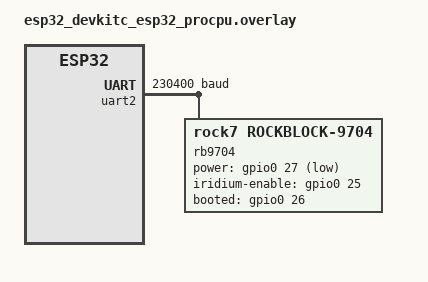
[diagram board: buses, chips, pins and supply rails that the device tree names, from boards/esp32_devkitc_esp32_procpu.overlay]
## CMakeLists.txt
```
# SPDX-License-Identifier: MIT
# Copyright (c) 2026 Scott Penrose <scottp@dd.com.au>
cmake_minimum_required(VERSION 3.20.0)
find_package(Zephyr REQUIRED HINTS $ENV{ZEPHYR_BASE})
project(rb9704_shell)
target_sources(app PRIVATE src/main.c src/rbtest.c)
target_sources_ifdef(CONFIG_WIFI app PRIVATE src/wifi.c)
# The RGB LED and button, on boards whose overlay gives a led-strip alias
# and an sw0 button (boards/stamp_c3.*).
target_sources_ifdef(CONFIG_LED_STRIP app PRIVATE src/indicator.c)
```

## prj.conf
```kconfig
CONFIG_SERIAL=y
CONFIG_SHELL=y
CONFIG_LOG=y
# One log backend, the shell's: with the UART one as well every line
# printed twice.
CONFIG_LOG_BACKEND_UART=n
CONFIG_RB9704=y
CONFIG_RB9704_SHELL=y
# Long `rb9704 send` lines, typed or pasted.
CONFIG_SHELL_CMD_BUFF_SIZE=512
CONFIG_SHELL_BACKEND_SERIAL_RX_RING_BUFFER_SIZE=256
CONFIG_CRC=y
```

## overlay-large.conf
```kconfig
# SPDX-License-Identifier: MIT
# Copyright (c) 2026 Scott Penrose <scottp@dd.com.au>
#
# Messages up to 50000 bytes, for `rbtest large`:
#
#   west build -b stamp_c3 samples/shell -- -DEXTRA_CONF_FILE=overlay-large.conf
#
# Three buffers of this size are kept: the library's MO and MT buffers and
# this module's copy for rb9704_send, about 150 kB in all. On the
# M5Stamp-C3 that fits on the USB console, and with overlay-wifi.conf as
# well it does not: the link overflows by 11 kB. With WiFi, 40000 bytes
# fits (docs/boards/stamp_c3.md).
CONFIG_RB9704_MESSAGE_MAX=50000
```

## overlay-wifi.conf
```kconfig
# SPDX-License-Identifier: MIT
# Copyright (c) 2026 Scott Penrose <scottp@dd.com.au>
#
# The shell over WiFi, for a board out in the open with power and no USB:
#
#   west build -b stamp_c3 samples/shell -- -DEXTRA_CONF_FILE=overlay-wifi.conf
#
# Once, on the USB console:
#
#   wifi cred add -s "<SSID>" -k 1 -p "<password>"
#
# The board joins that network at every boot after (src/wifi.c), logs its
# address, and `telnet <address>` gives the same shell as the console. There
# is no password on telnet and `rb9704 send` costs airtime: keep it on a
# network you trust.

# --- WiFi -------------------------------------------------------------------
CONFIG_WIFI=y
CONFIG_NET_L2_WIFI_MGMT=y
CONFIG_NET_L2_WIFI_SHELL=y
# The ESP32 driver reconnects by itself after the access point drops it.
CONFIG_ESP32_WIFI_STA_RECONNECT=y

CONFIG_NETWORKING=y
CONFIG_NET_IPV4=y
CONFIG_NET_IPV6=n
CONFIG_NET_DHCPV4=y
CONFIG_NET_TCP=y
CONFIG_NET_SOCKETS=y
CONFIG_NET_SHELL=y
CONFIG_NET_MGMT=y
CONFIG_NET_MGMT_EVENT=y
CONFIG_NET_MGMT_EVENT_INFO=y

# --- credentials, kept in flash --------------------------------------------
CONFIG_WIFI_CREDENTIALS=y
CONFIG_WIFI_CREDENTIALS_CONNECT_STORED=y
CONFIG_SETTINGS=y
CONFIG_SETTINGS_NVS=y
CONFIG_NVS=y
CONFIG_FLASH=y
CONFIG_FLASH_MAP=y

# --- the shell on telnet ----------------------------------------------------
CONFIG_SHELL_BACKEND_TELNET=y
# Character mode and echo negotiated with the client, so line editing and
# history work as on the console. Zephyr's own telnet sample sets it.
CONFIG_SHELL_TELNET_SUPPORT_COMMAND=y
CONFIG_SHELL_STACK_SIZE=4096

# --- memory -----------------------------------------------------------------
CONFIG_MAIN_STACK_SIZE=4096
CONFIG_NET_TX_STACK_SIZE=2048
CONFIG_NET_RX_STACK_SIZE=2048
```

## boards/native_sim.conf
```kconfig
# One log backend on native_sim, the shell's, as on a board.
CONFIG_LOG_BACKEND_NATIVE_POSIX=n
```

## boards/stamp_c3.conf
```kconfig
# The RGB LED and the button (src/indicator.c).
CONFIG_SPI=y
CONFIG_LED_STRIP=y
CONFIG_INPUT=y
```

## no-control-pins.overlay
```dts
/* SPDX-License-Identifier: MIT
 * Copyright (c) 2026 Scott Penrose <scottp@dd.com.au>
 *
 * The modem on TX and RX alone: P_EN, I_EN and I_BTD taken out of the
 * board overlay's node, for a modem wired with four wires. The module
 * then takes it to be powered, as the RockBLOCK is with the pins open.
 *
 *   west build -b stamp_c3 samples/shell -- \
 *     -DEXTRA_DTC_OVERLAY_FILE=no-control-pins.overlay
 */
&rb9704 {
	/delete-property/ power-gpios;
	/delete-property/ iridium-enable-gpios;
	/delete-property/ booted-gpios;
};
```

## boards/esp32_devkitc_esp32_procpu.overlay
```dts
/* ESP32 DevKitC (the original ESP32): the modem on uart2, GPIO17 (TX) and
 * GPIO16 (RX), with its control lines on GPIO27 (P_EN), GPIO25 (I_EN) and
 * GPIO26 (I_BTD). The console stays on uart0 through the board's USB bridge.
 * On WROVER modules GPIO16 and GPIO17 belong to the PSRAM: use a WROOM
 * module, or move uart2's pins here. */
&uart2 {
	current-speed = <230400>;
	status = "okay";

	rb9704: rockblock {
		compatible = "rock7,rockblock-9704";
		power-gpios = <&gpio0 27 GPIO_ACTIVE_LOW>;		/* P_EN, active low */
		iridium-enable-gpios = <&gpio0 25 GPIO_ACTIVE_HIGH>;	/* I_EN */
		booted-gpios = <&gpio0 26 GPIO_ACTIVE_HIGH>;		/* I_BTD */
	};
};
```

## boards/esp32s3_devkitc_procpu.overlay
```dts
/* ESP32-S3-DevKitC: the modem on uart1, GPIO17 (TX) and GPIO18 (RX), with
 * its control lines on GPIO6 (P_EN), GPIO4 (I_EN) and GPIO5 (I_BTD). */
&pinctrl {
	uart1_rb9704: uart1_rb9704 {
		group1 {
			pinmux = <UART1_TX_GPIO17>;
			output-high;
		};
		group2 {
			pinmux = <UART1_RX_GPIO18>;
			bias-pull-up;
		};
	};
};

&uart1 {
	pinctrl-0 = <&uart1_rb9704>;
	pinctrl-names = "default";
	current-speed = <230400>;
	status = "okay";

	rb9704: rockblock {
		compatible = "rock7,rockblock-9704";
		power-gpios = <&gpio0 6 GPIO_ACTIVE_LOW>;		/* P_EN, active low */
		iridium-enable-gpios = <&gpio0 4 GPIO_ACTIVE_HIGH>;	/* I_EN */
		booted-gpios = <&gpio0 5 GPIO_ACTIVE_HIGH>;		/* I_BTD */
	};
};
```

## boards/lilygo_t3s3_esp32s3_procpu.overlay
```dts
/* LilyGO T3-S3: the modem on uart0, GPIO43 (TX) and GPIO44 (RX) on the
 * header. The console is on the S3's native USB, so uart0 is free.
 *
 * The ESP32-S3's ROM prints on GPIO43 at every reset, before Zephyr runs, so
 * the modem sees some junk; rbBegin() drains it and resynchronises. If it
 * ever matters, hold I_EN low until the board is up (iridium-enable-gpios). */
&uart0 {
	current-speed = <230400>;
	status = "okay";

	rb9704: rockblock {
		compatible = "rock7,rockblock-9704";
	};
};
```

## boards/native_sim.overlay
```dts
/* native_sim: the modem is a host serial device, the fake modem's pty
 * (python/rb9704tools/fakemodem.py) or a real RockBLOCK on USB. Name it at
 * run time: ./zephyr.exe --modem_uart_port=/dev/pts/N (the node name below). */
/ {
	modem_uart: modem_uart {
		compatible = "zephyr,native-tty-uart";
		current-speed = <230400>;
		status = "okay";

		rockblock {
			compatible = "rock7,rockblock-9704";
		};
	};
};
```

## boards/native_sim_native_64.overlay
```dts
/* native_sim: the modem is a host serial device, the fake modem's pty
 * (python/rb9704tools/fakemodem.py) or a real RockBLOCK on USB. Name it at
 * run time: ./zephyr.exe --modem_uart_port=/dev/pts/N (the node name below). */
/ {
	modem_uart: modem_uart {
		compatible = "zephyr,native-tty-uart";
		current-speed = <230400>;
		status = "okay";

		rb9704: rockblock {
			compatible = "rock7,rockblock-9704";
		};
	};
};
```

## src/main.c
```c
/* SPDX-License-Identifier: MIT
 * Copyright (c) 2026 Scott Penrose <scottp@dd.com.au>
 *
 * The rb9704 shell sample: `rb9704` on the console, and every message from
 * the network, every finished send and every signal change printed as it
 * happens. The same image is what the tests in tests/ drive, on native_sim
 * against a fake modem and on a board against a fake or a real one.
 */
#include <zephyr/kernel.h>
#include <zephyr/logging/log.h>

#include <ctype.h>

#include <zephyr/sys/crc.h>

#include <rb9704/rb9704.h>

#include "rbtest.h"

#ifdef CONFIG_WIFI
#include "wifi.h"
#endif
#ifdef CONFIG_LED_STRIP
#include "indicator.h"
#endif

LOG_MODULE_REGISTER(sample, LOG_LEVEL_INF);

static void on_mo_done(uint16_t topic, uint16_t id, int result, void *user)
{
	ARG_UNUSED(user);
	LOG_INF("mo done topic %u id %u result %d", topic, id, result);
	rbtest_mo_done(topic, id, result);
#ifdef CONFIG_LED_STRIP
	indicator_flash_mo(result);
#endif
}

static void on_mt(const struct rb9704_mt *mt, void *user)
{
	/* The whole message's CRC and its start: a long one in a single log
	 * line would not survive every board's log buffer. */
	char text[65];
	size_t n = MIN(mt->len, sizeof(text) - 1);

	ARG_UNUSED(user);
	for (size_t i = 0; i < n; i++) {
		text[i] = isprint(mt->data[i]) ? mt->data[i] : '.';
	}
	text[n] = '\0';
	LOG_INF("mt topic %u id %u len %u crc %08x: %s", mt->topic, mt->id, (unsigned int)mt->len,
		crc32_ieee(mt->data, mt->len), text);
	rbtest_mt(mt);
#ifdef CONFIG_LED_STRIP
	indicator_flash_mt();
#endif
}

static void on_signal(uint8_t bars, bool visible, void *user)
{
	ARG_UNUSED(user);
	LOG_INF("signal %u bars%s", bars, visible ? "" : ", not visible");
}

static void on_provisioning(const struct rb9704_topic *topics, uint8_t n, void *user)
{
	ARG_UNUSED(user);
	LOG_INF("provisioned, %u topic(s), the first %u", n, n > 0 ? topics[0].id : 0);
}

static const struct rb9704_callbacks cb = {
	.mo_done = on_mo_done,
	.mt = on_mt,
	.signal = on_signal,
	.provisioning = on_provisioning,
};

int main(void)
{
	rb9704_set_callbacks(&cb);
#ifdef CONFIG_WIFI
	sample_wifi_start();
#endif
#ifdef CONFIG_LED_STRIP
	indicator_start();
#endif
	LOG_INF("rb9704 shell sample: `rb9704 begin`, then `rb9704 info`");
	return 0;
}
```

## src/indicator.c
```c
/* SPDX-License-Identifier: MIT
 * Copyright (c) 2026 Scott Penrose <scottp@dd.com.au>
 *
 * indicator.c - the board's RGB LED and button, for a board out in the open
 * with nobody at its console. Built on boards whose devicetree has a
 * led-strip alias (one LED is enough) and an sw0 button.
 *
 * The LED, by priority:
 *
 *   white, fast blink   a button action is running (begin, end)
 *   green flash         a message went (1 s)
 *   red flash           a message, or a button action, failed (2 s)
 *   cyan flash          a message arrived (2 s)
 *   magenta             a message is with the modem, on its way
 *   red/yellow/green    begun: no signal or no satellite / 1-2 bars / 3-5
 *   blue                not begun
 *
 * On a WiFi build the steady colours blink slowly while there is no WiFi:
 * blinking means telnet will not reach it.
 *
 * The button, both free of airtime:
 *
 *   short press   not begun: rb9704_begin. Begun: ask for the signal.
 *   long press    rb9704_end, and the supply off when there is a power pin.
 */
#include <zephyr/kernel.h>
#include <zephyr/device.h>
#include <zephyr/devicetree.h>
#include <zephyr/drivers/led_strip.h>
#include <zephyr/input/input.h>
#include <zephyr/logging/log.h>

#include <rb9704/rb9704.h>

#include "indicator.h"
#ifdef CONFIG_WIFI
#include "wifi.h"
#endif

LOG_MODULE_REGISTER(sample_indicator, LOG_LEVEL_INF);

#define TICK_MS	   100
#define LONG_MS	   2000
/* Out of 255: the SK6812 at full is too bright to look at. */
#define LEVEL	   24

static const struct device *const strip = DEVICE_DT_GET(DT_ALIAS(led_strip));

enum flash { FLASH_NONE, FLASH_SENT, FLASH_FAILED, FLASH_MT };

static atomic_t flash;
static int64_t flash_until;
static atomic_t busy;
static uint32_t ticks;

static K_SEM_DEFINE(press_sem, 0, 1);
static bool press_long;

static struct led_rgb rgb(uint8_t r, uint8_t g, uint8_t b)
{
	return (struct led_rgb){.r = r, .g = g, .b = b};
}

static const struct led_rgb off = {0};

static bool wifi_up(void)
{
#ifdef CONFIG_WIFI
	return sample_wifi_connected();
#else
	return true;
#endif
}

void indicator_flash_mo(int result)
{
	atomic_set(&flash, result == 0 ? FLASH_SENT : FLASH_FAILED);
	flash_until = k_uptime_get() + (result == 0 ? 1000 : 2000);
}

void indicator_flash_mt(void)
{
	atomic_set(&flash, FLASH_MT);
	flash_until = k_uptime_get() + 2000;
}

static struct led_rgb pick(void)
{
	struct rb9704_status st;
	struct led_rgb c;

	ticks++;
	if (atomic_get(&busy)) {
		return (ticks & 1) ? rgb(LEVEL, LEVEL, LEVEL) : off;
	}
	if (atomic_get(&flash) != FLASH_NONE) {
		if (k_uptime_get() < flash_until) {
			switch (atomic_get(&flash)) {
			case FLASH_SENT:
				return rgb(0, LEVEL, 0);
			case FLASH_FAILED:
				return rgb(LEVEL, 0, 0);
			default:
				return rgb(0, LEVEL, LEVEL);
			}
		}
		atomic_set(&flash, FLASH_NONE);
	}

	rb9704_status(&st);
	if (st.mo_in_flight) {
		c = rgb(LEVEL, 0, LEVEL);
	} else if (!st.begun) {
		c = rgb(0, 0, LEVEL);
	} else if (!st.signal_known || st.signal_bars == 0 ||
		   (st.visibility_known && !st.constellation_visible)) {
		c = rgb(LEVEL, 0, 0);
	} else if (st.signal_bars < 3) {
		c = rgb(LEVEL, LEVEL, 0);
	} else {
		c = rgb(0, LEVEL, 0);
	}
	/* Half a second on, half off, while telnet cannot reach the board. */
	if (!wifi_up() && (ticks / 5) % 2) {
		return off;
	}
	return c;
}

static void tick(struct k_work *work)
{
	struct led_rgb c = pick();

	(void)led_strip_update_rgb(strip, &c, 1);
	k_work_schedule(k_work_delayable_from_work(work), K_MSEC(TICK_MS));
}

static K_WORK_DELAYABLE_DEFINE(tick_work, tick);

/* The input thread must not wait on the modem: a press is handed to the
 * button thread, and a press during an action is dropped. */
static void on_key(struct input_event *evt, void *user)
{
	static int64_t down;

	ARG_UNUSED(user);
	if (evt->type != INPUT_EV_KEY) {
		return;
	}
	if (evt->value) {
		down = k_uptime_get();
		return;
	}
	if (atomic_get(&busy)) {
		return;
	}
	press_long = k_uptime_get() - down >= LONG_MS;
	k_sem_give(&press_sem);
}

INPUT_CALLBACK_DEFINE(DEVICE_DT_GET(DT_PARENT(DT_ALIAS(sw0))), on_key, NULL);

static void button_thread(void *a, void *b, void *c)
{
	struct rb9704_status st;
	int rc;

	ARG_UNUSED(a);
	ARG_UNUSED(b);
	ARG_UNUSED(c);
	for (;;) {
		k_sem_take(&press_sem, K_FOREVER);
		rb9704_status(&st);
		atomic_set(&busy, 1);
		if (press_long) {
			LOG_INF("button: end");
			/* rb9704_power ends the library first. */
			rc = rb9704_power(false);
			if (rc == -ENOTSUP) {
				rc = st.begun ? rb9704_end(K_SECONDS(10)) : 0;
			}
		} else if (!st.begun) {
			LOG_INF("button: begin");
			rc = rb9704_begin(K_SECONDS(60));
		} else {
			LOG_INF("button: signal");
			rc = rb9704_signal(K_SECONDS(10));
		}
		atomic_set(&busy, 0);
		if (rc < 0) {
			LOG_WRN("button: failed (%d)", rc);
			indicator_flash_mo(rc);
		}
	}
}

K_THREAD_DEFINE(button_tid, 2048, button_thread, NULL, NULL, NULL, 10, 0, 0);

void indicator_start(void)
{
	if (!device_is_ready(strip)) {
		LOG_ERR("LED not ready");
		return;
	}
	k_work_schedule(&tick_work, K_NO_WAIT);
}
```

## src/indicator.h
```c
/* SPDX-License-Identifier: MIT
 * Copyright (c) 2026 Scott Penrose <scottp@dd.com.au>
 */
#ifndef SAMPLE_INDICATOR_H
#define SAMPLE_INDICATOR_H

/* The RGB LED shows the modem's state; the button begins and ends it. */
void indicator_start(void);
/* A short flash for a finished send (result as mo_done gives it) and for
 * a message arrived. */
void indicator_flash_mo(int result);
void indicator_flash_mt(void);

#endif /* SAMPLE_INDICATOR_H */
```

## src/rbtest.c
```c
/* SPDX-License-Identifier: MIT
 * Copyright (c) 2026 Scott Penrose <scottp@dd.com.au>
 *
 * rbtest.c - `rbtest` on the shell: airtime tests with a payload that is
 * easy to check at the other end, and a record of the last MT.
 *
 *   rbtest small <topic> [count] [gap_s]   count messages of 32 bytes, one
 *                                          at a time, gap_s apart
 *   rbtest large <topic> [bytes] [confirm] one message, 50000 bytes unless
 *                                          given; without confirm it only
 *                                          says what it would cost
 *   rbtest status                          the run, and how long each took
 *   rbtest stop                            no more messages after this one
 *   rbtest mt                              the last message from the network
 *
 * A run is on a thread of its own, so the shell stays free; each message
 * is logged as it is accepted and as it finishes.
 *
 * Every test message, MO or MT, has the same shape. A 16-byte header:
 *
 *   0..2   "RBT"
 *   3      version, 1
 *   4      kind: 'S' small, 'L' large, anything else from the cloud side
 *   5      seq, from 1
 *   6      count in the run
 *   7      0
 *   8..11  the whole message's length, big-endian
 *   12..15 uptime in ms when it was made, big-endian
 *
 * then from byte 16 to the end, byte k is k % 510 counted up 0..255 and
 * back down 254..1: a ramp that shows a missing or repeated segment at a
 * glance in a hex dump. `rb9704 pattern check` in python/ checks one, and
 * `rb9704 pattern make` makes one to queue as an MT.
 */
#include <zephyr/kernel.h>
#include <zephyr/logging/log.h>
#include <zephyr/shell/shell.h>
#include <zephyr/sys/byteorder.h>
#include <zephyr/sys/crc.h>

#include <ctype.h>
#include <errno.h>
#include <stdlib.h>
#include <string.h>

#include <rb9704/rb9704.h>

#include "rbtest.h"

LOG_MODULE_REGISTER(rbtest, LOG_LEVEL_INF);

#define HEADER 16
#define SMALL_LEN 32
#define LARGE_LEN 50000
#define MAX_COUNT 20
/* How long one message may take before it is cancelled. The modem retries
 * by itself while it waits for a satellite, so these are generous. */
#define SMALL_TIMEOUT K_SECONDS(600)
#define LARGE_TIMEOUT K_SECONDS(1800)

struct fill_ctx {
	char kind;
	uint8_t seq, count;
	uint32_t uptime_ms;
};

static uint8_t ramp(size_t k)
{
	size_t v = k % 510;

	return v < 256 ? v : 510 - v;
}

static void fill(uint8_t *buf, size_t len, void *user)
{
	const struct fill_ctx *c = user;
	uint8_t h[HEADER] = { 'R', 'B', 'T', 1, c->kind, c->seq, c->count, 0 };

	sys_put_be32(len, &h[8]);
	sys_put_be32(c->uptime_ms, &h[12]);
	for (size_t k = 0; k < len; k++) {
		buf[k] = k < HEADER ? h[k] : ramp(k);
	}
}

/* -1: not a test message. Otherwise the offset of the first byte that is
 * not as expected, and len when every byte is. */
static long check(const uint8_t *d, size_t len)
{
	if (len < HEADER || memcmp(d, "RBT\x01", 4) != 0) {
		return -1;
	}
	if (sys_get_be32(&d[8]) != len) {
		return 8;
	}
	for (size_t k = HEADER; k < len; k++) {
		if (d[k] != ramp(k)) {
			return k;
		}
	}
	return len;
}

/* --- the run --------------------------------------------------------------- */

static struct {
	bool running;
	bool stop;
	char kind;
	uint16_t topic;
	uint8_t count;
	uint32_t gap_s;
	size_t len;
	uint8_t done;
	int32_t result[MAX_COUNT];	/* ms to send, or a negative errno */
	int mo_result;
} run;
static K_MUTEX_DEFINE(run_lock);
static K_SEM_DEFINE(run_go, 0, 1);
static K_SEM_DEFINE(run_mo, 0, 1);
static K_SEM_DEFINE(run_stop, 0, 1);
static volatile bool mo_waiting;

void rbtest_mo_done(uint16_t topic, uint16_t id, int result)
{
	ARG_UNUSED(topic); ARG_UNUSED(id);
	if (mo_waiting) {
		run.mo_result = result;
		k_sem_give(&run_mo);
	}
}

static int32_t one(uint8_t seq)
{
	struct fill_ctx c = { run.kind, seq, run.count, 0 };
	k_timeout_t timeout = run.kind == 'L' ? LARGE_TIMEOUT : SMALL_TIMEOUT;
	int64_t t0 = k_uptime_get();
	int rc;

	c.uptime_ms = (uint32_t)t0;
	k_sem_reset(&run_mo);
	mo_waiting = true;
	rc = rb9704_send_fill(run.topic, run.len, fill, &c, K_SECONDS(30));
	if (rc != 0 && rc != -EINPROGRESS) {
		mo_waiting = false;
		LOG_WRN("rbtest %c %u/%u: not accepted: %d", run.kind, seq, run.count, rc);
		return rc;
	}
	LOG_INF("rbtest %c %u/%u: %u bytes on topic %u, accepted in %lld ms", run.kind, seq,
		run.count, (unsigned int)run.len, run.topic, k_uptime_get() - t0);
	if (k_sem_take(&run_mo, timeout) != 0) {
		LOG_WRN("rbtest %c %u/%u: no result in %lld s, cancelling", run.kind, seq,
			run.count, (k_uptime_get() - t0) / 1000);
		(void)rb9704_cancel(K_SECONDS(5));
		(void)k_sem_take(&run_mo, K_SECONDS(60));
		mo_waiting = false;
		return -ETIMEDOUT;
	}
	mo_waiting = false;
	if (run.mo_result != 0) {
		LOG_WRN("rbtest %c %u/%u: failed after %lld ms: %d", run.kind, seq, run.count,
			k_uptime_get() - t0, run.mo_result);
		return run.mo_result;
	}
	return (int32_t)(k_uptime_get() - t0);
}

static void runner(void *a, void *b, void *c)
{
	ARG_UNUSED(a); ARG_UNUSED(b); ARG_UNUSED(c);

	for (;;) {
		uint8_t ok = 0;

		k_sem_take(&run_go, K_FOREVER);
		for (uint8_t i = 0; i < run.count && !run.stop; i++) {
			int32_t r = one(i + 1);

			k_mutex_lock(&run_lock, K_FOREVER);
			run.result[i] = r;
			run.done = i + 1;
			k_mutex_unlock(&run_lock);
			if (r >= 0) {
				ok++;
				LOG_INF("rbtest %c %u/%u: sent in %d.%03d s", run.kind, i + 1,
					run.count, r / 1000, r % 1000);
			}
			if (i + 1 < run.count && !run.stop &&
			    k_sem_take(&run_stop, K_SECONDS(run.gap_s)) == 0) {
				break;
			}
		}
		LOG_INF("rbtest %c: %u of %u sent%s", run.kind, ok, run.count,
			run.done < run.count ? ", stopped" : "");
		k_mutex_lock(&run_lock, K_FOREVER);
		run.running = false;
		k_mutex_unlock(&run_lock);
	}
}

K_THREAD_DEFINE(rbtest_tid, 2048, runner, NULL, NULL, NULL, 10, 0, 0);

static int start(const struct shell *sh, char kind, uint16_t topic, uint8_t count,
		 uint32_t gap_s, size_t len)
{
	k_mutex_lock(&run_lock, K_FOREVER);
	if (run.running) {
		k_mutex_unlock(&run_lock);
		shell_error(sh, "a run is going: `rbtest status`, `rbtest stop`");
		return -EBUSY;
	}
	run.running = true;
	run.stop = false;
	run.kind = kind;
	run.topic = topic;
	run.count = count;
	run.gap_s = gap_s;
	run.len = len;
	run.done = 0;
	k_mutex_unlock(&run_lock);
	k_sem_reset(&run_stop);
	k_sem_give(&run_go);
	return 0;
}

static int parse_topic(const struct shell *sh, const char *s, uint16_t *topic)
{
	unsigned long t = strtoul(s, NULL, 10);

	if (t < RB9704_TOPIC_MIN || t > UINT16_MAX) {
		shell_error(sh, "topic %s: from %u, 244 is raw", s, RB9704_TOPIC_MIN);
		return -EINVAL;
	}
	*topic = (uint16_t)t;
	return 0;
}

static int cmd_small(const struct shell *sh, size_t argc, char **argv)
{
	uint16_t topic;
	unsigned long count = argc > 2 ? strtoul(argv[2], NULL, 10) : 3;
	unsigned long gap = argc > 3 ? strtoul(argv[3], NULL, 10) : 60;

	if (parse_topic(sh, argv[1], &topic) != 0) {
		return -EINVAL;
	}
	if (count < 1 || count > MAX_COUNT) {
		shell_error(sh, "count 1 to %d", MAX_COUNT);
		return -EINVAL;
	}
	shell_print(sh, "%lu messages of %d bytes on topic %u, %lu s apart: this costs airtime",
		    count, SMALL_LEN, topic, gap);
	return start(sh, 'S', topic, count, gap, SMALL_LEN);
}

static int cmd_large(const struct shell *sh, size_t argc, char **argv)
{
	uint16_t topic;
	unsigned long len = LARGE_LEN;
	bool confirmed = false;

	if (parse_topic(sh, argv[1], &topic) != 0) {
		return -EINVAL;
	}
	for (size_t i = 2; i < argc; i++) {
		if (strcmp(argv[i], "confirm") == 0) {
			confirmed = true;
		} else {
			len = strtoul(argv[i], NULL, 10);
		}
	}
	if (len <= HEADER || len > CONFIG_RB9704_MESSAGE_MAX) {
		shell_error(sh, "%lu bytes: from %d to %d, CONFIG_RB9704_MESSAGE_MAX in this build",
			    len, HEADER + 1, CONFIG_RB9704_MESSAGE_MAX);
		return -EINVAL;
	}
	if (!confirmed) {
		shell_print(sh, "one message of %lu bytes on topic %u, %lu times the size of a",
			    len, topic, len / SMALL_LEN);
		shell_print(sh, "small test message. It costs airtime for every byte.");
		shell_print(sh, "Nothing sent. To send it: rbtest large %u %lu confirm", topic, len);
		return 0;
	}
	shell_print(sh, "%lu bytes on topic %u: this costs airtime", len, topic);
	return start(sh, 'L', topic, 1, 0, len);
}

static int cmd_status(const struct shell *sh, size_t argc, char **argv)
{
	ARG_UNUSED(argc); ARG_UNUSED(argv);
	k_mutex_lock(&run_lock, K_FOREVER);
	if (run.count == 0) {
		shell_print(sh, "no run since boot");
	} else {
		shell_print(sh, "%s %c: %u of %u done, %u bytes each on topic %u",
			    run.running ? "running" : "last run", run.kind, run.done, run.count,
			    (unsigned int)run.len, run.topic);
		for (int i = 0; i < run.done; i++) {
			int32_t r = run.result[i];

			if (r >= 0) {
				shell_print(sh, "  %d: sent in %d.%03d s", i + 1, r / 1000,
					    r % 1000);
			} else {
				shell_print(sh, "  %d: failed, %d", i + 1, r);
			}
		}
	}
	k_mutex_unlock(&run_lock);
	return 0;
}

static int cmd_stop(const struct shell *sh, size_t argc, char **argv)
{
	ARG_UNUSED(argc); ARG_UNUSED(argv);
	if (!run.running) {
		shell_print(sh, "nothing running");
		return 0;
	}
	run.stop = true;
	k_sem_give(&run_stop);
	shell_print(sh, "stopping after the message in flight; `rb9704 cancel` abandons it");
	return 0;
}

/* --- the last MT ------------------------------------------------------------ */

static struct {
	uint32_t count;
	int64_t at_ms;
	uint16_t topic, id;
	size_t len;
	uint32_t crc;
	uint8_t head[32];
	long check;
} mt_last;
static K_MUTEX_DEFINE(mt_lock);

void rbtest_mt(const struct rb9704_mt *mt)
{
	long c = check(mt->data, mt->len);

	k_mutex_lock(&mt_lock, K_FOREVER);
	mt_last.count++;
	mt_last.at_ms = k_uptime_get();
	mt_last.topic = mt->topic;
	mt_last.id = mt->id;
	mt_last.len = mt->len;
	mt_last.crc = crc32_ieee(mt->data, mt->len);
	memcpy(mt_last.head, mt->data, MIN(mt->len, sizeof(mt_last.head)));
	mt_last.check = c;
	k_mutex_unlock(&mt_lock);
	if (c == (long)mt->len) {
		LOG_INF("rbtest: MT is a test message, %c %u/%u, all %u bytes as expected",
			mt->data[4], mt->data[5], mt->data[6], (unsigned int)mt->len);
	} else if (c >= 0) {
		LOG_WRN("rbtest: MT is a test message, wrong from byte %ld of %u", c,
			(unsigned int)mt->len);
	}
}

static int cmd_mt(const struct shell *sh, size_t argc, char **argv)
{
	char hex[3 * sizeof(mt_last.head) + 1];
	char text[sizeof(mt_last.head) + 1];
	size_t n;

	ARG_UNUSED(argc); ARG_UNUSED(argv);
	k_mutex_lock(&mt_lock, K_FOREVER);
	if (mt_last.count == 0) {
		k_mutex_unlock(&mt_lock);
		shell_print(sh, "no MT since boot");
		return 0;
	}
	n = MIN(mt_last.len, sizeof(mt_last.head));
	for (size_t i = 0; i < n; i++) {
		snprintk(&hex[3 * i], 4, "%02x ", mt_last.head[i]);
		text[i] = isprint(mt_last.head[i]) ? mt_last.head[i] : '.';
	}
	hex[n > 0 ? 3 * n - 1 : 0] = '\0';
	text[n] = '\0';
	shell_print(sh, "mt        %u since boot, the last %lld s ago", mt_last.count,
		    (k_uptime_get() - mt_last.at_ms) / 1000);
	shell_print(sh, "          topic %u id %u, %u bytes, crc %08x", mt_last.topic, mt_last.id,
		    (unsigned int)mt_last.len, mt_last.crc);
	shell_print(sh, "          %s", hex);
	shell_print(sh, "          %s", text);
	if (mt_last.check == (long)mt_last.len) {
		shell_print(sh, "          test message %c %u/%u, all %u bytes as expected",
			    mt_last.head[4], mt_last.head[5], mt_last.head[6],
			    (unsigned int)mt_last.len);
	} else if (mt_last.check >= 0) {
		shell_print(sh, "          test message, wrong from byte %ld", mt_last.check);
	}
	k_mutex_unlock(&mt_lock);
	return 0;
}

SHELL_STATIC_SUBCMD_SET_CREATE(rbtest_cmds,
	SHELL_CMD_ARG(small, NULL, "small <topic> [count=3] [gap_s=60]: costs airtime",
		      cmd_small, 2, 2),
	SHELL_CMD_ARG(large, NULL, "large <topic> [bytes=50000] [confirm]: costs airtime",
		      cmd_large, 2, 2),
	SHELL_CMD(status, NULL, "the run, and how long each message took", cmd_status),
	SHELL_CMD(stop, NULL, "no more messages after the one in flight", cmd_stop),
	SHELL_CMD(mt, NULL, "the last message from the network", cmd_mt),
	SHELL_SUBCMD_SET_END);

SHELL_CMD_REGISTER(rbtest, &rbtest_cmds, "airtime tests with a checkable payload", NULL);
```

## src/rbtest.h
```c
/* SPDX-License-Identifier: MIT
 * Copyright (c) 2026 Scott Penrose <scottp@dd.com.au>
 *
 * rbtest.h - the airtime tests, fed from the sample's callbacks.
 */
#ifndef RBTEST_H_
#define RBTEST_H_

#include <rb9704/rb9704.h>

void rbtest_mo_done(uint16_t topic, uint16_t id, int result);
void rbtest_mt(const struct rb9704_mt *mt);

#endif /* RBTEST_H_ */
```

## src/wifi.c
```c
/* SPDX-License-Identifier: MIT
 * Copyright (c) 2026 Scott Penrose <scottp@dd.com.au>
 *
 * wifi.c - join the stored network at boot, and keep trying, so a board out
 * in the open is reachable by telnet with nobody at its USB port. Built with
 * overlay-wifi.conf only.
 *
 * The credentials are the ones `wifi cred add` kept in flash. The ESP32
 * driver reconnects by itself after a drop (CONFIG_ESP32_WIFI_STA_RECONNECT);
 * the retry here covers a network that was not there at boot.
 */
#include <zephyr/kernel.h>
#include <zephyr/logging/log.h>
#include <zephyr/net/net_if.h>
#include <zephyr/net/net_mgmt.h>
#include <zephyr/net/wifi_mgmt.h>
#include <zephyr/net/wifi_credentials.h>

#include "wifi.h"

LOG_MODULE_REGISTER(sample_wifi, LOG_LEVEL_INF);

#define RETRY K_SECONDS(30)

static struct net_mgmt_event_callback wifi_cb;
static struct net_mgmt_event_callback ip_cb;
static struct k_work_delayable retry;
static bool connected;

static void try_connect(struct k_work *work)
{
	static bool warned;
	struct net_if *iface = net_if_get_wifi_sta();

	ARG_UNUSED(work);
	if (connected || iface == NULL) {
		return;
	}
	if (wifi_credentials_is_empty()) {
		/* Checked again in 30 s, so a network added now is joined
		 * without a reboot. */
		if (!warned) {
			LOG_WRN("no network stored: wifi cred add -s \"<SSID>\" -k 1 -p \"<password>\"");
			warned = true;
		}
		k_work_reschedule(&retry, RETRY);
		return;
	}
	if (net_mgmt(NET_REQUEST_WIFI_CONNECT_STORED, iface, NULL, 0) != 0) {
		k_work_reschedule(&retry, RETRY);
	}
}

static void on_wifi(struct net_mgmt_event_callback *cb, uint64_t event, struct net_if *iface)
{
	const struct wifi_status *status = cb->info;

	ARG_UNUSED(iface);
	if (event == NET_EVENT_WIFI_CONNECT_RESULT) {
		connected = status->status == 0;
		if (connected) {
			LOG_INF("wifi connected, waiting for an address");
		} else {
			LOG_WRN("wifi connect failed (%d), again in 30 s", status->status);
			k_work_reschedule(&retry, RETRY);
		}
	} else if (event == NET_EVENT_WIFI_DISCONNECT_RESULT) {
		connected = false;
		LOG_WRN("wifi disconnected");
		k_work_reschedule(&retry, RETRY);
	}
}

static void on_ip(struct net_mgmt_event_callback *cb, uint64_t event, struct net_if *iface)
{
	char addr[NET_IPV4_ADDR_LEN];

	ARG_UNUSED(cb);
	ARG_UNUSED(event);
	ARRAY_FOR_EACH(iface->config.ip.ipv4->unicast, i) {
		const struct net_if_addr *a = &iface->config.ip.ipv4->unicast[i].ipv4;

		if (a->is_used && a->addr_type == NET_ADDR_DHCP) {
			net_addr_ntop(AF_INET, &a->address.in_addr, addr, sizeof(addr));
			LOG_INF("address %s: telnet %s", addr, addr);
		}
	}
}

bool sample_wifi_connected(void)
{
	return connected;
}

void sample_wifi_start(void)
{
	k_work_init_delayable(&retry, try_connect);
	net_mgmt_init_event_callback(&wifi_cb, on_wifi,
				     NET_EVENT_WIFI_CONNECT_RESULT |
					     NET_EVENT_WIFI_DISCONNECT_RESULT);
	net_mgmt_add_event_callback(&wifi_cb);
	net_mgmt_init_event_callback(&ip_cb, on_ip, NET_EVENT_IPV4_ADDR_ADD);
	net_mgmt_add_event_callback(&ip_cb);
	/* A moment for the driver to bring the interface up. */
	k_work_reschedule(&retry, K_SECONDS(1));
}
```

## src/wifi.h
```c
/* SPDX-License-Identifier: MIT
 * Copyright (c) 2026 Scott Penrose <scottp@dd.com.au>
 */
#ifndef SAMPLE_WIFI_H
#define SAMPLE_WIFI_H

#include <stdbool.h>

/* Join the network `wifi cred add` stored, and rejoin it after a drop. */
void sample_wifi_start(void);
bool sample_wifi_connected(void);

#endif /* SAMPLE_WIFI_H */
```
